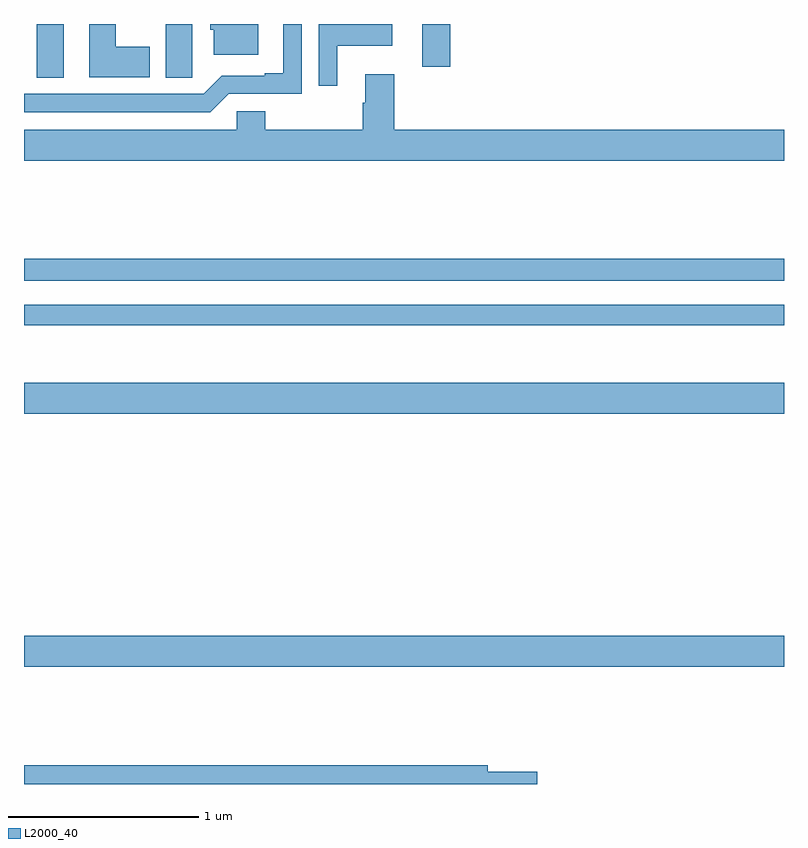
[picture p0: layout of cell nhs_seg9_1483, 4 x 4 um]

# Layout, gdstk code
import gdstk
lib = gdstk.Library(unit=1e-6, precision=1e-09)
def R(c, l, rs):  # rectangles x0, y0, x1, y1
    for r in rs: c.add(gdstk.rectangle(r[:2], r[2:], *l))
def P(c, l, *ps):  # polygons
    for p in ps: c.add(gdstk.Polygon(p, *l))
L2000_40 = (2000, 40)

nhs_seg9_1483 = lib.new_cell('nhs_seg9_1483')
R(nhs_seg9_1483, L2000_40, [(195,1167.116,199,1167.28), (195,1168.448,199,1168.612), (195,1168.914,199,1169.022), (195,1169.148,199,1169.264), (195.068,1170.217,195.208,1170.5), (197.096,1170.276,197.243,1170.5)])
P(nhs_seg9_1483, L2000_40, [(196.648,1170.386),(196.939,1170.386),(196.939,1170.5),(196.551,1170.5),(196.551,1170.174),(196.648,1170.174)],
  [(195.885,1170.328),(195.886,1170.328),(195.886,1170.5),(195.746,1170.5),(195.746,1170.217),(195.885,1170.217)],
  [(195.661,1170.381),(195.484,1170.381),(195.484,1170.5),(195.344,1170.5),(195.344,1170.221),(195.661,1170.221)],
  [(196.077,1170.132),(196.461,1170.132),(196.461,1170.5),(196.364,1170.5),(196.364,1170.241),(196.268,1170.241),(196.268,1170.228),(196.041,1170.228),(195.945,1170.132),(195,1170.132),(195,1170.036),(195.981,1170.036)],
  [(196.234,1170.5),(195.98,1170.5),(195.98,1170.471),(195.998,1170.471),(195.998,1170.338),(196.234,1170.338)],
  [(199,1169.944),(196.949,1169.944),(196.949,1170.235),(196.796,1170.235),(196.796,1170.086),(196.784,1170.086),(196.784,1169.944),(196.271,1169.944),(196.271,1170.042),(196.119,1170.042),(196.119,1169.944),(195,1169.944),(195,1169.78),(199,1169.78)],
  [(197.701,1166.564),(197.44,1166.564),(197.44,1166.6),(195,1166.6),(195,1166.5),(197.701,1166.5)])

lib.write_gds('nhs_seg9_1483.gds')
